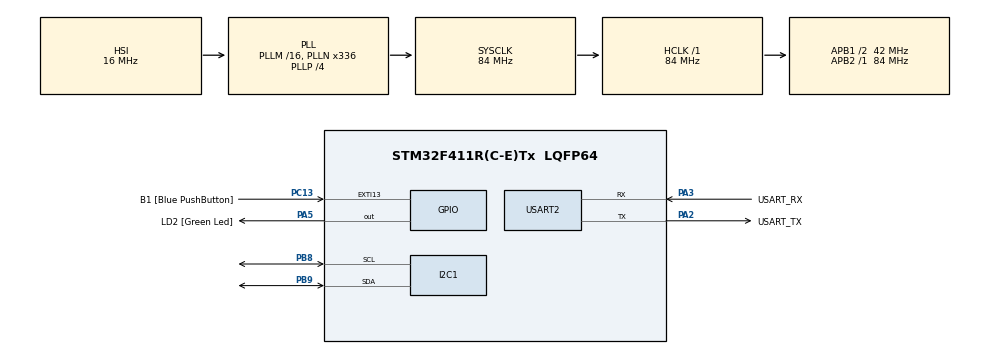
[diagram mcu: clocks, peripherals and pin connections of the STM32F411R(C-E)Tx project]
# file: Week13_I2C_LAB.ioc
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Mcu.Family=STM32F4
PC15-OSC32_OUT.Mode=LSE-External-Oscillator
RCC.CortexFreq_Value=84000000
NVIC.I2C1_EV_IRQn=true\:0\:0\:false\:false\:true\:true\:true
PC13-ANTI_TAMP.GPIO_Label=B1 [Blue PushButton]
PA14.GPIO_Label=TCK
PH1\ -\ OSC_OUT.Mode=HSE-External-Clock-Source
RCC.APB1CLKDivider=RCC_HCLK_DIV2
PC14-OSC32_IN.Signal=RCC_OSC32_IN
RCC.SYSCLKSource=RCC_SYSCLKSOURCE_PLLCLK
ProjectManager.StackSize=0x400
PA13.Signal=SYS_JTMS-SWDIO
PA3.Mode=Asynchronous
PH0\ -\ OSC_IN.Mode=HSE-External-Clock-Source
PH0\ -\ OSC_IN.Signal=RCC_OSC_IN
ProjectManager.TargetToolchain=STM32CubeIDE
I2C1.I2C_Mode=I2C_Fast
RCC.HCLKFreq_Value=84000000
PB9.Mode=I2C
RCC.APB2TimFreq_Value=84000000
PC15-OSC32_OUT.Signal=RCC_OSC32_OUT
RCC.AHBFreq_Value=84000000
PA5.Signal=GPIO_Output
RCC.HSE_VALUE=8000000
PH1\ -\ OSC_OUT.Signal=RCC_OSC_OUT
board=NUCLEO-F411RE
PC13-ANTI_TAMP.Signal=GPXTI13
RCC.VCOOutputFreq_Value=336000000
RCC.APB2Freq_Value=84000000
PC14-OSC32_IN.Mode=LSE-External-Oscillator
PA14.Mode=Serial_Wire
PA13.Mode=Serial_Wire
NVIC.I2C1_ER_IRQn=true\:0\:0\:false\:false\:true\:true\:true
Mcu.Name=STM32F411R(C-E)Tx
PA2.Signal=USART2_TX
PA13.GPIO_Label=TMS
RCC.FLatency-AdvancedSettings=FLASH_LATENCY_2
RCC.48MHZClocksFreq_Value=84000000
PB3.Signal=SYS_JTDO-SWO
RCC.SYSCLKFreq_VALUE=84000000
Mcu.Package=LQFP64
PB9.Signal=I2C1_SDA
PA5.GPIO_Label=LD2 [Green Led]
USART2.VirtualMode=VM_ASYNC
PC13-ANTI_TAMP.GPIO_ModeDefaultEXTI=GPIO_MODE_IT_FALLING
PA2.GPIO_Label=USART_TX
PA14.Signal=SYS_JTCK-SWCLK
ProjectManager.HeapSize=0x200
RCC.HSI_VALUE=16000000
RCC.PLLP=RCC_PLLP_DIV4
NVIC.PriorityGroup=NVIC_PRIORITYGROUP_0
PB8.Mode=I2C
RCC.PLLN=336
RCC.APB1TimFreq_Value=84000000
PA2.Mode=Asynchronous
PB8.Signal=I2C1_SCL
RCC.APB1Freq_Value=42000000
PA3.GPIO_Label=USART_RX
PA3.Signal=USART2_RX
PB3.GPIO_Label=SWO

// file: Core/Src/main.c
/* USER CODE BEGIN Header */
/**
 ******************************************************************************
 * @file           : main.c
 * @brief          : Main program body
 ******************************************************************************
 * @attention
 *
 * <h2><center>&copy; Copyright (c) 2021 STMicroelectronics.
 * All rights reserved.</center></h2>
 *
 * This software component is licensed by ST under BSD 3-Clause license,
 * the "License"; You may not use this file except in compliance with the
 * License. You may obtain a copy of the License at:
 *                        opensource.org/licenses/BSD-3-Clause
 *
 ******************************************************************************
 */
/* USER CODE END Header */
#include "main.h"

/* USER CODE BEGIN PD */
#define EEPROM_ADDR 0b10100000
#define IOEXPD_ADDR 0b01000000
/* USER CODE END PD */

I2C_HandleTypeDef hi2c1;

UART_HandleTypeDef huart2;

/* USER CODE BEGIN PV */
uint8_t eepromExampleWriteFlag = 0;
uint8_t eepromExampleReadFlag = 0;
uint8_t IOExpdrExampleWriteFlag = 0;
uint8_t IOExpdrExampleReadFlag = 0;
uint8_t eepromDataReadBack[4];
uint8_t IOExpdrDataReadBack;
uint8_t IOExpdrDataWrite = 0b01010101;
uint8_t BlueButton[2]={0};
/* USER CODE END PV */

void SystemClock_Config(void);
static void MX_GPIO_Init(void);
static void MX_USART2_UART_Init(void);
static void MX_I2C1_Init(void);
/* USER CODE BEGIN PFP */
void IOExpenderInit();
void eeromWrite();
void eeromRead();
void ioxdWrite();
void ioxdRead();
/* USER CODE END PFP */

int main(void)
{

  /* MCU Configuration--------------------------------------------------------*/

  /* Reset of all peripherals, Initializes the Flash interface and the Systick. */
  HAL_Init();

  /* Configure the system clock */
  SystemClock_Config();

  /* Initialize all configured peripherals */
  MX_GPIO_Init();
  MX_USART2_UART_Init();
  MX_I2C1_Init();
  /* USER CODE BEGIN 2 */
  HAL_Delay(100);
  IOExpenderInit();
  /* USER CODE END 2 */

  /* Infinite loop */
  /* USER CODE BEGIN WHILE */
  	HAL_I2C_Mem_Read_IT(&hi2c1, EEPROM_ADDR, 0x27, I2C_MEMADD_SIZE_16BIT,&IOExpdrDataWrite, 1);
    HAL_Delay(100);
    HAL_I2C_Mem_Write_IT(&hi2c1, IOEXPD_ADDR, 0x15, I2C_MEMADD_SIZE_8BIT,&IOExpdrDataWrite, 1);
	while (1) {
//		EEPROMWriteExample();
//		EEPROMReadExample(eepromDataReadBack, 4);
//
//		IOExpenderReadPinA(&IOExpdrDataReadBack);
//		IOExpenderWritePinB(IOExpdrDataWrite);
		BlueButton[0] = HAL_GPIO_ReadPin(GPIOC, GPIO_PIN_13);
		if(BlueButton[0] == 0 && BlueButton[1] == 1){

			//อ่านจากปุ่มและไปเขียนใน eeprom
			ioxdRead();
			HAL_Delay(100);
			eeromWrite();
			HAL_Delay(100);

			//อ่านจาก eeprom และไปเขียนส่งค่าให้ LED
			eeromRead();
			HAL_Delay(100);
			ioxdWrite();

		}
		BlueButton[1] = BlueButton[0];

    /* USER CODE END WHILE */

	}
}

void SystemClock_Config(void)
{
  RCC_OscInitTypeDef RCC_OscInitStruct = {0};
  RCC_ClkInitTypeDef RCC_ClkInitStruct = {0};

  /** Configure the main internal regulator output voltage
  */
  __HAL_RCC_PWR_CLK_ENABLE();
  __HAL_PWR_VOLTAGESCALING_CONFIG(PWR_REGULATOR_VOLTAGE_SCALE1);
  /** Initializes the RCC Oscillators according to the specified parameters
  * in the RCC_OscInitTypeDef structure.
  */
  RCC_OscInitStruct.OscillatorType = RCC_OSCILLATORTYPE_HSI;
  RCC_OscInitStruct.HSIState = RCC_HSI_ON;
  RCC_OscInitStruct.HSICalibrationValue = RCC_HSICALIBRATION_DEFAULT;
  RCC_OscInitStruct.PLL.PLLState = RCC_PLL_ON;
  RCC_OscInitStruct.PLL.PLLSource = RCC_PLLSOURCE_HSI;
  RCC_OscInitStruct.PLL.PLLM = 16;
  RCC_OscInitStruct.PLL.PLLN = 336;
  RCC_OscInitStruct.PLL.PLLP = RCC_PLLP_DIV4;
  RCC_OscInitStruct.PLL.PLLQ = 4;
  if (HAL_RCC_OscConfig(&RCC_OscInitStruct) != HAL_OK)
  {
    Error_Handler();
  }
  /** Initializes the CPU, AHB and APB buses clocks
  */
  RCC_ClkInitStruct.ClockType = RCC_CLOCKTYPE_HCLK|RCC_CLOCKTYPE_SYSCLK
                              |RCC_CLOCKTYPE_PCLK1|RCC_CLOCKTYPE_PCLK2;
  RCC_ClkInitStruct.SYSCLKSource = RCC_SYSCLKSOURCE_PLLCLK;
  RCC_ClkInitStruct.AHBCLKDivider = RCC_SYSCLK_DIV1;
  RCC_ClkInitStruct.APB1CLKDivider = RCC_HCLK_DIV2;
  RCC_ClkInitStruct.APB2CLKDivider = RCC_HCLK_DIV1;

  if (HAL_RCC_ClockConfig(&RCC_ClkInitStruct, FLASH_LATENCY_2) != HAL_OK)
  {
    Error_Handler();
  }
}

static void MX_I2C1_Init(void)
{

  hi2c1.Instance = I2C1;
  hi2c1.Init.ClockSpeed = 400000;
  hi2c1.Init.DutyCycle = I2C_DUTYCYCLE_2;
  hi2c1.Init.OwnAddress1 = 0;
  hi2c1.Init.AddressingMode = I2C_ADDRESSINGMODE_7BIT;
  hi2c1.Init.DualAddressMode = I2C_DUALADDRESS_DISABLE;
  hi2c1.Init.OwnAddress2 = 0;
  hi2c1.Init.GeneralCallMode = I2C_GENERALCALL_DISABLE;
  hi2c1.Init.NoStretchMode = I2C_NOSTRETCH_DISABLE;
  if (HAL_I2C_Init(&hi2c1) != HAL_OK)
  {
    Error_Handler();
  }

}

static void MX_USART2_UART_Init(void)
{

  huart2.Instance = USART2;
  huart2.Init.BaudRate = 115200;
  huart2.Init.WordLength = UART_WORDLENGTH_8B;
  huart2.Init.StopBits = UART_STOPBITS_1;
  huart2.Init.Parity = UART_PARITY_NONE;
  huart2.Init.Mode = UART_MODE_TX_RX;
  huart2.Init.HwFlowCtl = UART_HWCONTROL_NONE;
  huart2.Init.OverSampling = UART_OVERSAMPLING_16;
  if (HAL_UART_Init(&huart2) != HAL_OK)
  {
    Error_Handler();
  }

}

static void MX_GPIO_Init(void)
{
  GPIO_InitTypeDef GPIO_InitStruct = {0};

  /* GPIO Ports Clock Enable */
  __HAL_RCC_GPIOC_CLK_ENABLE();
  __HAL_RCC_GPIOH_CLK_ENABLE();
  __HAL_RCC_GPIOA_CLK_ENABLE();
  __HAL_RCC_GPIOB_CLK_ENABLE();

  /*Configure GPIO pin Output Level */
  HAL_GPIO_WritePin(LD2_GPIO_Port, LD2_Pin, GPIO_PIN_RESET);

  /*Configure GPIO pin : B1_Pin */
  GPIO_InitStruct.Pin = B1_Pin;
  GPIO_InitStruct.Mode = GPIO_MODE_IT_FALLING;
  GPIO_InitStruct.Pull = GPIO_NOPULL;
  HAL_GPIO_Init(B1_GPIO_Port, &GPIO_InitStruct);

  /*Configure GPIO pin : LD2_Pin */
  GPIO_InitStruct.Pin = LD2_Pin;
  GPIO_InitStruct.Mode = GPIO_MODE_OUTPUT_PP;
  GPIO_InitStruct.Pull = GPIO_NOPULL;
  GPIO_InitStruct.Speed = GPIO_SPEED_FREQ_LOW;
  HAL_GPIO_Init(LD2_GPIO_Port, &GPIO_InitStruct);

}

/* USER CODE BEGIN 4 */
//void EEPROMWriteExample() {
//	if (eepromExampleWriteFlag && hi2c1.State == HAL_I2C_STATE_READY) {
//
//		static uint8_t data[4] = { 0xff, 0x00, 0x55, 0xaa };//ทำให้ data ไม่หายไป เ�?็บ data
//		HAL_I2C_Mem_Write_IT(&hi2c1, EEPROM_ADDR, 0x2C, I2C_MEMADD_SIZE_16BIT,
//				data, 4);
//		eepromExampleWriteFlag = 0;
//	}
//}
//void EEPROMReadExample(uint8_t *Rdata, uint16_t len) {
//	if (eepromExampleReadFlag && hi2c1.State == HAL_I2C_STATE_READY)
//	{
//
//		HAL_I2C_Mem_Read_IT(&hi2c1, EEPROM_ADDR, 0x2c, I2C_MEMADD_SIZE_16BIT,Rdata, len);
//		eepromExampleReadFlag = 0;
//	}
//}
void eeromWrite()
{
	HAL_I2C_Mem_Write_IT(&hi2c1, EEPROM_ADDR, 0x27, I2C_MEMADD_SIZE_16BIT,&IOExpdrDataReadBack, 1);
}
void eeromRead()
{
	HAL_I2C_Mem_Read_IT(&hi2c1, EEPROM_ADDR, 0x27, I2C_MEMADD_SIZE_16BIT,&IOExpdrDataWrite, 1);
}
void ioxdWrite()
{
	HAL_I2C_Mem_Write_IT(&hi2c1, IOEXPD_ADDR, 0x15, I2C_MEMADD_SIZE_8BIT,&IOExpdrDataWrite, 1);
}
void ioxdRead()
{
	HAL_I2C_Mem_Read_IT(&hi2c1, IOEXPD_ADDR, 0x12, I2C_MEMADD_SIZE_8BIT,&IOExpdrDataReadBack, 1);
}
void IOExpenderInit() {
	//Init All
	static uint8_t Setting[0x16] = { 0xFF, 0x00, 0x00, 0x00, 0x00, 0x00, 0x00,
			0x00, 0x00, 0x00, 0x00, 0x00, 0xFF, 0x00, 0x00, 0x00, 0x00, 0x00,
			0x00, 0x00, 0x00, 0x00 };
	HAL_I2C_Mem_Write(&hi2c1, IOEXPD_ADDR, 0x00, I2C_MEMADD_SIZE_8BIT, Setting,
			0x16, 100);
}
//void IOExpenderReadPinA(uint8_t *Rdata) {
//	if (IOExpdrExampleReadFlag && hi2c1.State == HAL_I2C_STATE_READY) {
//		HAL_I2C_Mem_Read_IT(&hi2c1, IOEXPD_ADDR, 0x12, I2C_MEMADD_SIZE_8BIT,
//				Rdata, 1);
//		IOExpdrExampleReadFlag =0;
//	}
//}
//void IOExpenderWritePinB(uint8_t Wdata) {
//	if (IOExpdrExampleWriteFlag && hi2c1.State == HAL_I2C_STATE_READY) {
//		static uint8_t data;
//		data = Wdata;
//		HAL_I2C_Mem_Write_IT(&hi2c1, IOEXPD_ADDR, 0x15, I2C_MEMADD_SIZE_8BIT,
//				&data, 1);
//		IOExpdrExampleWriteFlag=0;
//	}
//}
/* USER CODE END 4 */

void Error_Handler(void)
{
	__disable_irq();
	while (1) {
	}
}

/************************ (C) COPYRIGHT STMicroelectronics *****END OF FILE****/
